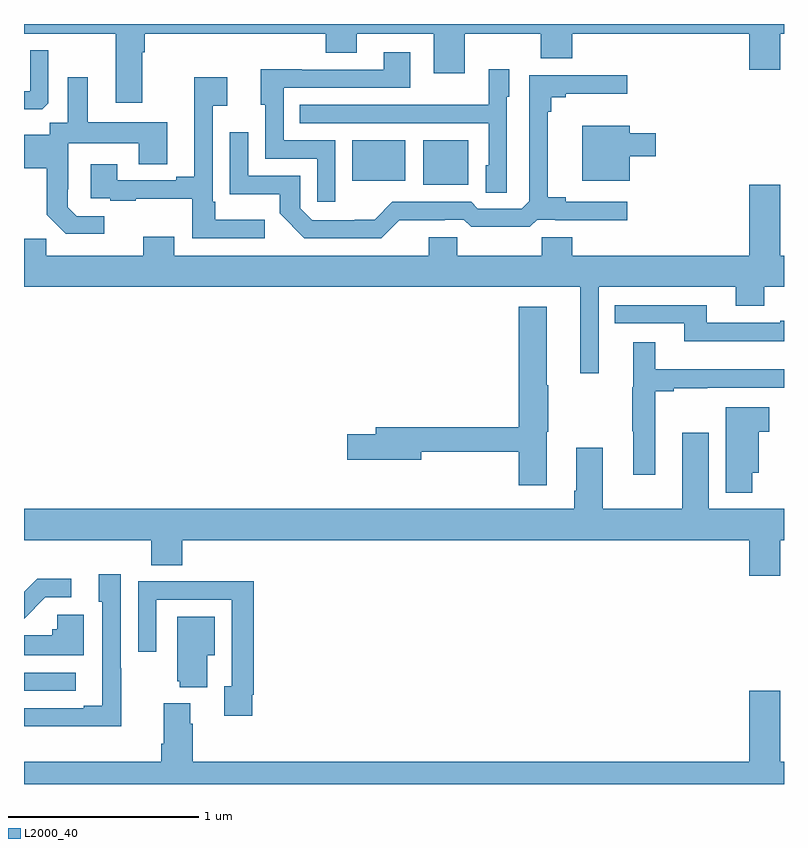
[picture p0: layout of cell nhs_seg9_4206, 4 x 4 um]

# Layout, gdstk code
import gdstk
lib = gdstk.Library(unit=1e-6, precision=1e-09)
def R(c, l, rs):  # rectangles x0, y0, x1, y1
    for r in rs: c.add(gdstk.rectangle(r[:2], r[2:], *l))
def P(c, l, *ps):  # polygons
    for p in ps: c.add(gdstk.Polygon(p, *l))
L2000_40 = (2000, 40)

nhs_seg9_4206 = lib.new_cell('nhs_seg9_4206')
R(nhs_seg9_4206, L2000_40, [(353,1164.99,353.272,1165.086), (355.1,1167.653,355.339,1167.889), (354.728,1167.674,355.006,1167.889)])
P(nhs_seg9_4206, L2000_40, [(353,1168.448),(353.483,1168.448),(353.483,1168.086),(353.623,1168.086),(353.623,1168.352),(353.636,1168.352),(353.636,1168.448),(354.587,1168.448),(354.587,1168.349),(354.751,1168.349),(354.751,1168.448),(355.157,1168.448),(355.157,1168.242),(355.321,1168.242),(355.321,1168.448),(355.721,1168.448),(355.721,1168.32),(355.885,1168.32),(355.885,1168.448),(356.816,1168.448),(356.816,1168.26),(356.98,1168.26),(356.98,1168.448),(357,1168.448),(357,1168.5),(353,1168.5)],
  [(353.127,1168.083),(353.127,1168.363),(353.034,1168.363),(353.034,1168.146),(353,1168.146),(353,1168.052),(353.095,1168.052)],
  [(354.639,1167.888),(354.366,1167.888),(354.366,1168.164),(355.033,1168.164),(355.033,1168.351),(354.893,1168.351),(354.893,1168.26),(354.463,1168.26),(354.463,1168.262),(354.245,1168.262),(354.245,1168.074),(354.27,1168.074),(354.27,1167.792),(354.543,1167.792),(354.543,1167.564),(354.639,1167.564)],
  [(355.542,1168.116),(355.555,1168.116),(355.555,1168.261),(355.446,1168.261),(355.446,1168.075),(355.129,1168.075),(355.129,1168.074),(354.451,1168.074),(354.451,1167.978),(355.446,1167.978),(355.446,1167.756),(355.43,1167.756),(355.43,1167.613),(355.542,1167.613)],
  [(354.974,1167.467),(355.214,1167.467),(355.214,1167.471),(355.314,1167.471),(355.354,1167.432),(355.661,1167.432),(355.701,1167.471),(355.795,1167.471),(355.795,1167.467),(356.176,1167.467),(356.176,1167.564),(355.852,1167.564),(355.852,1167.587),(355.757,1167.587),(355.757,1168.037),(355.775,1168.037),(355.775,1168.114),(355.852,1168.114),(355.852,1168.133),(356.176,1168.133),(356.176,1168.23),(355.659,1168.23),(355.659,1167.567),(355.62,1167.528),(355.389,1167.528),(355.353,1167.564),(354.939,1167.564),(354.845,1167.47),(354.74,1167.47),(354.74,1167.468),(354.516,1167.468),(354.453,1167.531),(354.453,1167.702),(354.18,1167.702),(354.18,1167.931),(354.084,1167.931),(354.084,1167.605),(354.346,1167.605),(354.346,1167.503),(354.476,1167.372),(354.879,1167.372)],
  [(353.422,1167.489),(353.277,1167.489),(353.23,1167.536),(353.23,1167.631),(353.232,1167.631),(353.232,1167.872),(353.603,1167.872),(353.603,1167.763),(353.755,1167.763),(353.755,1167.982),(353.335,1167.982),(353.335,1168.219),(353.231,1168.219),(353.231,1167.98),(353.136,1167.98),(353.136,1167.916),(353,1167.916),(353,1167.741),(353.121,1167.741),(353.121,1167.495),(353.221,1167.395),(353.422,1167.395)],
  [(354.268,1167.469),(354.007,1167.469),(354.007,1167.565),(353.994,1167.565),(353.994,1168.07),(354.07,1168.07),(354.07,1168.219),(353.897,1168.219),(353.897,1167.697),(353.801,1167.697),(353.801,1167.678),(353.491,1167.678),(353.491,1167.763),(353.351,1167.763),(353.351,1167.582),(353.455,1167.582),(353.455,1167.57),(353.587,1167.57),(353.587,1167.581),(353.886,1167.581),(353.886,1167.372),(354.268,1167.372)],
  [(356.188,1167.803),(356.326,1167.803),(356.326,1167.925),(356.188,1167.925),(356.188,1167.964),(355.937,1167.964),(355.937,1167.674),(356.188,1167.674)],
  [(356.025,1167.116),(356.747,1167.116),(356.747,1167.017),(356.895,1167.017),(356.895,1167.116),(357,1167.116),(357,1167.28),(356.98,1167.28),(356.98,1167.655),(356.816,1167.655),(356.816,1167.28),(355.886,1167.28),(355.886,1167.378),(355.726,1167.378),(355.726,1167.28),(355.281,1167.28),(355.281,1167.378),(355.13,1167.378),(355.13,1167.28),(353.791,1167.28),(353.791,1167.379),(353.627,1167.379),(353.627,1167.28),(353.117,1167.28),(353.117,1167.371),(353,1167.371),(353,1167.116),(355.928,1167.116),(355.928,1166.661),(356.025,1166.661)],
  [(357,1166.938),(356.979,1166.938),(356.979,1166.928),(356.593,1166.928),(356.593,1167.021),(356.11,1167.021),(356.11,1166.925),(356.474,1166.925),(356.474,1166.831),(357,1166.831)],
  [(355.75,1166.355),(355.758,1166.355),(355.758,1166.6),(355.75,1166.6),(355.75,1167.013),(355.604,1167.013),(355.604,1166.378),(354.851,1166.378),(354.851,1166.342),(354.702,1166.342),(354.702,1166.207),(355.09,1166.207),(355.09,1166.25),(355.604,1166.25),(355.604,1166.073),(355.75,1166.073)],
  [(356.323,1166.566),(356.419,1166.566),(356.419,1166.584),(356.597,1166.584),(356.597,1166.586),(357,1166.586),(357,1166.683),(356.323,1166.683),(356.323,1166.824),(356.207,1166.824),(356.207,1166.589),(356.2,1166.589),(356.2,1166.356),(356.207,1166.356),(356.207,1166.127),(356.323,1166.127)],
  [(356.833,1166.138),(356.866,1166.138),(356.866,1166.353),(356.923,1166.353),(356.923,1166.482),(356.693,1166.482),(356.693,1166.033),(356.833,1166.033)],
  [(356.98,1165.784),(357,1165.784),(357,1165.948),(356.605,1165.948),(356.605,1166.35),(356.465,1166.35),(356.465,1165.948),(356.047,1165.948),(356.047,1166.269),(355.907,1166.269),(355.907,1166.044),(355.895,1166.044),(355.895,1165.948),(353,1165.948),(353,1165.784),(353.669,1165.784),(353.669,1165.651),(353.834,1165.651),(353.834,1165.784),(356.816,1165.784),(356.816,1165.596),(356.98,1165.596)],
  [(353.511,1165.109),(353.508,1165.109),(353.508,1165.603),(353.393,1165.603),(353.393,1165.458),(353.412,1165.458),(353.412,1164.913),(353.315,1164.913),(353.315,1164.9),(353,1164.9),(353,1164.804),(353.047,1164.804),(353.047,1164.803),(353.511,1164.803)],
  [(353.113,1165.482),(353.248,1165.482),(353.248,1165.58),(353.069,1165.58),(353,1165.511),(353,1165.371),(353.002,1165.371)],
  [(354.202,1164.97),(354.209,1164.97),(354.209,1165.568),(353.917,1165.568),(353.917,1165.566),(353.601,1165.566),(353.601,1165.197),(353.697,1165.197),(353.697,1165.47),(354.093,1165.47),(354.093,1165.014),(354.053,1165.014),(354.053,1164.858),(354.202,1164.858)],
  [(353.314,1165.39),(353.175,1165.39),(353.175,1165.314),(353.149,1165.314),(353.149,1165.282),(353,1165.282),(353,1165.178),(353.314,1165.178)],
  [(353.965,1165.178),(354.004,1165.178),(354.004,1165.381),(353.807,1165.381),(353.807,1165.041),(353.819,1165.041),(353.819,1165.01),(353.965,1165.01)],
  [(357,1164.616),(356.98,1164.616),(356.98,1164.991),(356.816,1164.991),(356.816,1164.616),(353.888,1164.616),(353.888,1164.818),(353.875,1164.818),(353.875,1164.925),(353.735,1164.925),(353.735,1164.712),(353.723,1164.712),(353.723,1164.616),(353,1164.616),(353,1164.5),(357,1164.5)])

lib.write_gds('nhs_seg9_4206.gds')
